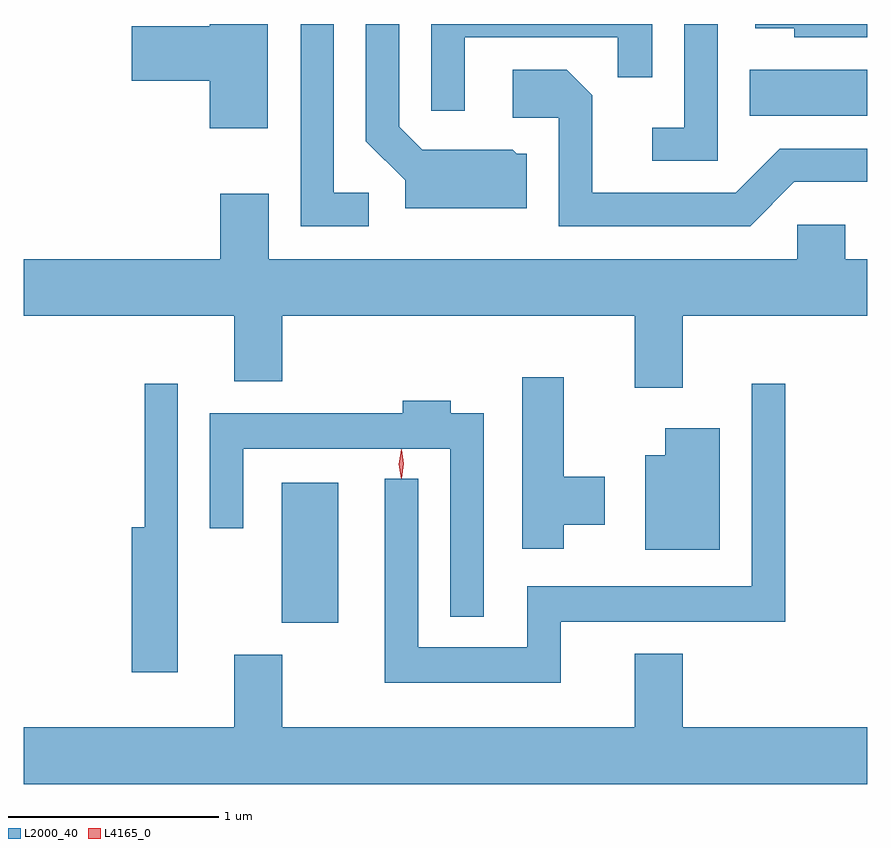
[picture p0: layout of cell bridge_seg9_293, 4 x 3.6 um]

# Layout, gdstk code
import gdstk
lib = gdstk.Library(unit=1e-6, precision=1e-09)
def R(c, l, rs):  # rectangles x0, y0, x1, y1
    for r in rs: c.add(gdstk.rectangle(r[:2], r[2:], *l))
def P(c, l, *ps):  # polygons
    for p in ps: c.add(gdstk.Polygon(p, *l))
L2000_40 = (2000, 40)
L4165_0 = (4165, 0)

bridge_seg9_293 = lib.new_cell('bridge_seg9_293')
R(bridge_seg9_293, L2000_40, [(968.216,2079.161,968.484,2079.824), (970.436,2081.566,970.993,2081.784)])
P(bridge_seg9_293, L2000_40, [(968.149,2082),(967.876,2082),(967.876,2081.989),(967.506,2081.989),(967.506,2081.731),(967.876,2081.731),(967.876,2081.506),(968.149,2081.506)],
  [(969.379,2081.384),(969.332,2081.384),(969.312,2081.404),(968.882,2081.404),(968.774,2081.512),(968.774,2082),(968.616,2082),(968.616,2081.443),(968.801,2081.259),(968.801,2081.126),(969.379,2081.126)],
  [(968.628,2081.199),(968.464,2081.199),(968.464,2082),(968.306,2082),(968.306,2081.041),(968.628,2081.041)],
  [(969.084,2081.936),(969.811,2081.936),(969.811,2081.748),(969.974,2081.748),(969.974,2082),(968.926,2082),(968.926,2081.588),(969.084,2081.588)],
  [(970.993,2082),(970.461,2082),(970.461,2081.981),(970.646,2081.981),(970.646,2081.936),(970.993,2081.936)],
  [(970.284,2082),(970.126,2082),(970.126,2081.509),(969.973,2081.509),(969.973,2081.351),(970.284,2081.351)],
  [(970.647,2081.251),(970.993,2081.251),(970.993,2081.409),(970.579,2081.409),(970.369,2081.199),(969.689,2081.199),(969.689,2081.662),(969.567,2081.784),(969.311,2081.784),(969.311,2081.556),(969.531,2081.556),(969.531,2081.041),(970.437,2081.041)],
  [(970.119,2080.616),(970.993,2080.616),(970.993,2080.884),(970.889,2080.884),(970.889,2081.049),(970.661,2081.049),(970.661,2080.884),(968.154,2080.884),(968.154,2081.194),(967.926,2081.194),(967.926,2080.884),(966.993,2080.884),(966.993,2080.616),(967.991,2080.616),(967.991,2080.306),(968.219,2080.306),(968.219,2080.616),(969.891,2080.616),(969.891,2080.276),(970.119,2080.276)],
  [(969.554,2079.626),(969.749,2079.626),(969.749,2079.854),(969.554,2079.854),(969.554,2080.324),(969.356,2080.324),(969.356,2079.511),(969.554,2079.511)],
  [(967.724,2080.293),(967.566,2080.293),(967.566,2079.614),(967.506,2079.614),(967.506,2078.926),(967.724,2078.926)],
  [(969.539,2079.166),(970.604,2079.166),(970.604,2080.293),(970.446,2080.293),(970.446,2079.334),(969.381,2079.334),(969.381,2079.044),(968.864,2079.044),(968.864,2079.843),(968.706,2079.843),(968.706,2078.876),(969.539,2078.876)],
  [(969.174,2080.154),(969.019,2080.154),(969.019,2080.214),(968.791,2080.214),(968.791,2080.154),(967.876,2080.154),(967.876,2079.608),(968.034,2079.608),(968.034,2079.986),(969.016,2079.986),(969.016,2079.188),(969.174,2079.188)],
  [(970.294,2080.084),(970.036,2080.084),(970.036,2079.954),(969.941,2079.954),(969.941,2079.506),(970.294,2079.506)],
  [(970.993,2078.664),(970.119,2078.664),(970.119,2079.014),(969.891,2079.014),(969.891,2078.664),(968.219,2078.664),(968.219,2079.009),(967.991,2079.009),(967.991,2078.664),(966.993,2078.664),(966.993,2078.396),(970.993,2078.396)])
P(bridge_seg9_293, L4165_0, [(968.782,2079.843),(968.782,2079.844),(968.772,2079.913),(968.782,2079.982),(968.782,2079.983),(968.783,2079.982),(968.792,2079.913),(968.783,2079.844)],
  [(968.784,2079.847),(968.775,2079.914),(968.784,2079.98),(968.785,2079.98),(968.785,2079.98),(968.795,2079.914),(968.785,2079.847),(968.785,2079.847)])

lib.write_gds('bridge_seg9_293.gds')
